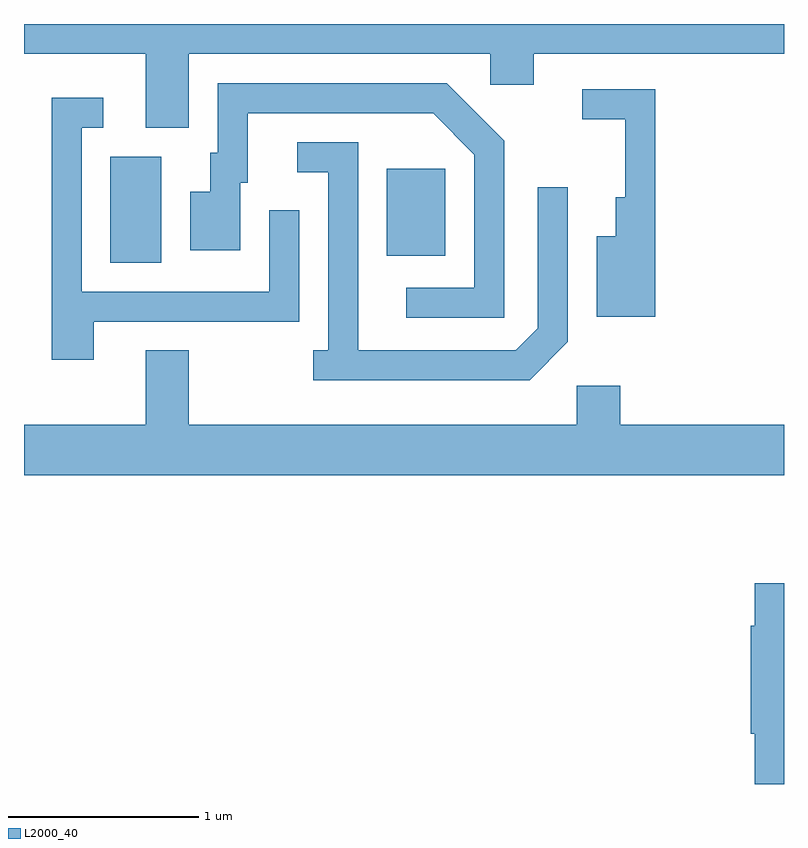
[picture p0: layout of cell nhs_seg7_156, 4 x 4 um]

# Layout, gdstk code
import gdstk
lib = gdstk.Library(unit=1e-6, precision=1e-09)
def R(c, l, rs):  # rectangles x0, y0, x1, y1
    for r in rs: c.add(gdstk.rectangle(r[:2], r[2:], *l))
def P(c, l, *ps):  # polygons
    for p in ps: c.add(gdstk.Polygon(p, *l))
L2000_40 = (2000, 40)

nhs_seg7_156 = lib.new_cell('nhs_seg7_156')
R(nhs_seg7_156, L2000_40, [(190.066,1710.996,190.334,1711.554), (191.521,1711.031,191.829,1711.489)])
P(nhs_seg7_156, L2000_40, [(190.479,1712.096),(192.066,1712.096),(192.066,1711.931),(192.294,1711.931),(192.294,1712.096),(193.611,1712.096),(193.611,1712.252),(189.611,1712.252),(189.611,1712.096),(190.251,1712.096),(190.251,1711.706),(190.479,1711.706)],
  [(192.139,1711.637),(191.837,1711.939),(190.631,1711.939),(190.631,1711.574),(190.591,1711.574),(190.591,1711.369),(190.486,1711.369),(190.486,1711.061),(190.749,1711.061),(190.749,1711.416),(190.789,1711.416),(190.789,1711.781),(191.764,1711.781),(191.981,1711.564),(191.981,1710.864),(191.623,1710.864),(191.623,1710.706),(192.139,1710.706)],
  [(192.934,1711.909),(192.548,1711.909),(192.548,1711.751),(192.776,1711.751),(192.776,1711.339),(192.726,1711.339),(192.726,1711.134),(192.626,1711.134),(192.626,1710.711),(192.934,1710.711)],
  [(189.979,1710.686),(191.059,1710.686),(191.059,1711.273),(190.901,1711.273),(190.901,1710.844),(189.914,1710.844),(189.914,1711.706),(190.028,1711.706),(190.028,1711.864),(189.756,1711.864),(189.756,1710.486),(189.979,1710.486)],
  [(192.474,1710.579),(192.474,1711.393),(192.316,1711.393),(192.316,1710.652),(192.199,1710.534),(191.369,1710.534),(191.369,1711.629),(191.048,1711.629),(191.048,1711.471),(191.211,1711.471),(191.211,1710.534),(191.133,1710.534),(191.133,1710.376),(192.272,1710.376)],
  [(193.611,1710.144),(192.749,1710.144),(192.749,1710.349),(192.521,1710.349),(192.521,1710.144),(190.479,1710.144),(190.479,1710.534),(190.251,1710.534),(190.251,1710.144),(189.611,1710.144),(189.611,1709.876),(193.611,1709.876)],
  [(193.611,1709.309),(193.456,1709.309),(193.456,1709.084),(193.436,1709.084),(193.436,1708.516),(193.456,1708.516),(193.456,1708.252),(193.611,1708.252)])

lib.write_gds('nhs_seg7_156.gds')
